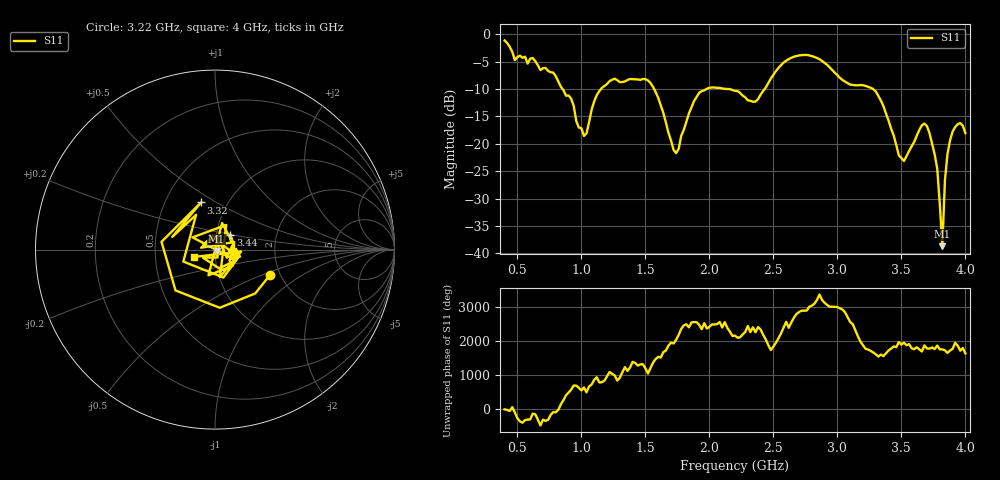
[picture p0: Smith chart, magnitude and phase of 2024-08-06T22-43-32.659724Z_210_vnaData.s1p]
!Created with skrf (http://scikit-rf.org).
# Hz S RI R 50.0
!freq ReS11 ImS11
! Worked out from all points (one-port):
!   181 points, 400 MHz to 4 GHz, reference 50 ohm
!   lowest |S11| = -38.7 dB at 3.82 GHz (marker M1), VSWR 1.02, Z = 50.9 - j0.795 ohm
!   |S11| at or under -10 dB: 853.2 MHz to 1.152 GHz (299.2 MHz wide, 29.8 % of centre); 1.569 GHz to 1.976 GHz (407 MHz wide, 23 % of centre); 3.28 GHz to end of sweep (the widest 3 of 4)
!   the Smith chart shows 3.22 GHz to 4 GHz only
!   S11 on the Smith chart (normalised r, x): 3.22 GHz: 1.78, -0.56; 3.32 GHz: 0.75, +0.43; 3.44 GHz: 1.17, +0.20; 4 GHz: 0.79, -0.07
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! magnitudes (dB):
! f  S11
! 400 MHz  -1.1
! 480 MHz  -4.7
! 620 MHz  -4.3
! 860 MHz  -10.2
! 1.02 GHz  -18.6
! 1.14 GHz  -10.4
! 1.3 GHz  -8.7
! 1.54 GHz  -8.9
! 1.72 GHz  -21.1
! 1.76 GHz  -20.9
! 1.92 GHz  -10.7
! 2.2 GHz  -10.3
! 2.36 GHz  -12.3
! 2.66 GHz  -4.1
! 3.1 GHz  -9.2
! 3.22 GHz  -9.4
! 3.32 GHz  -11.2
! 3.44 GHz  -18.5
! 3.52 GHz  -23.1
! 3.56 GHz  -21.3
! 3.66 GHz  -16.6
! 3.72 GHz  -18.1
! 3.78 GHz  -24.5
! 3.82 GHz  -38.7
! 3.84 GHz  -26.7
! 3.88 GHz  -19.4
! 3.94 GHz  -16.4
! 4 GHz  -18.0
